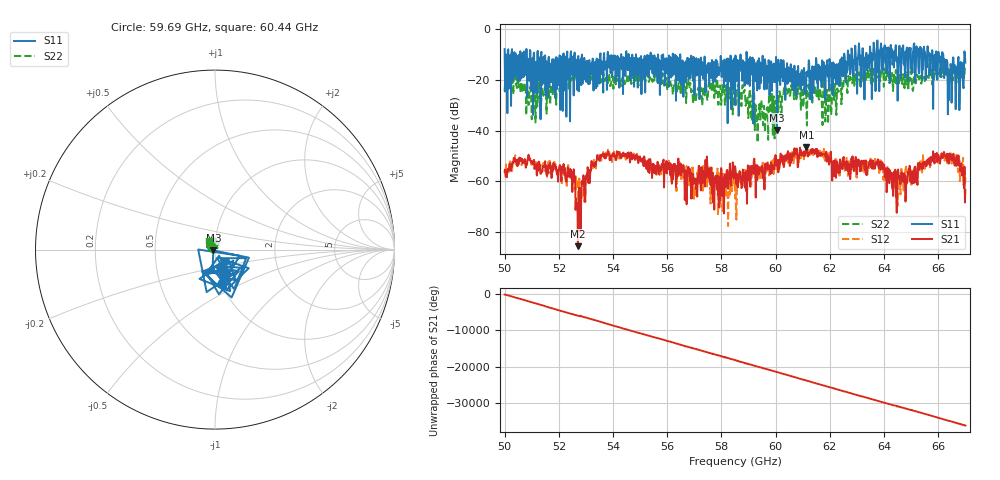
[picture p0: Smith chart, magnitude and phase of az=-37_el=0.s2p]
!Created with skrf (http://scikit-rf.org).
# GHz S RI R 50.0
!freq ReS11 ImS11 ReS21 ImS21 ReS12 ImS12 ReS22 ImS22
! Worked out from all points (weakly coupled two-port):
!   1001 points, 50 GHz to 67 GHz, reference 50 ohm
!   highest |S21| = -46.38 dB at 61.14 GHz (marker M1); lowest = -85.4 dB at 52.7 GHz (marker M2)
!   lowest |S11| = -39.8 dB at 60.05 GHz (marker M3), VSWR 1.02, Z = 49.1 - j0.456 ohm
!   |S11| at or under -10 dB: 52.59 GHz to 53.53 GHz (946.2 MHz wide, 1.78 % of centre); 56.48 GHz to 58.92 GHz (2.446 GHz wide, 4.24 % of centre); 58.93 GHz to 62.53 GHz (3.598 GHz wide, 5.93 % of centre) (the widest 3 of 67)
!   |S22| runs from -44.7 to -13.4 dB; largest |S21 - S12| = 0.0023
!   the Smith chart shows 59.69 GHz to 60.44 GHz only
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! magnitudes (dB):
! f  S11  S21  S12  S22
! 50 GHz  -7.9  -56.1  -55.9  -24.5
! 51.07 GHz  -9.6  -51.8  -53.2  -25.5
! 52.11 GHz  -17.7  -55.2  -61.3  -21.8
! 52.52 GHz  -13.9  -57.6  -57.2  -19.7
! 52.7 GHz  -11.5  -85.4  -64.2  -18.6
! 52.84 GHz  -11.1  -60.0  -62.7  -20.0
! 53.79 GHz  -11.7  -49.4  -50.0  -19.9
! 55.68 GHz  -13.8  -53.3  -54.5  -21.3
! 56.97 GHz  -10.9  -58.6  -62.0  -24.7
! 57.5 GHz  -16.0  -57.6  -56.2  -26.7
! 57.89 GHz  -15.0  -64.3  -69.1  -29.8
! 58.5 GHz  -29.9  -54.0  -66.5  -23.3
! 59.32 GHz  -24.2  -53.6  -57.3  -34.1
! 60.05 GHz  -39.8  -53.9  -51.9  -29.6
! 61.14 GHz  -16.9  -46.4  -47.8  -30.4
! 61.34 GHz  -28.3  -48.9  -48.6  -28.0
! 64.18 GHz  -12.0  -55.0  -57.2  -17.7
! 64.53 GHz  -12.4  -57.6  -61.1  -21.5
! 65.56 GHz  -11.8  -54.1  -52.9  -19.1
! 66.29 GHz  -12.3  -50.9  -49.2  -15.9
! 66.76 GHz  -16.2  -53.5  -53.8  -16.1
! 67 GHz  -13.2  -63.3  -60.5  -14.2
